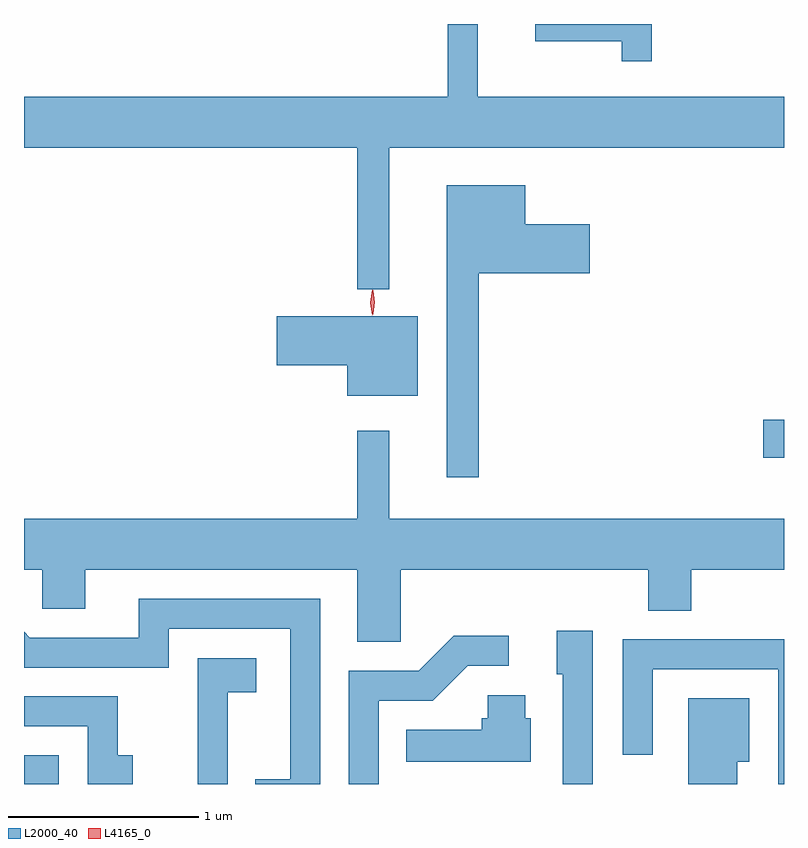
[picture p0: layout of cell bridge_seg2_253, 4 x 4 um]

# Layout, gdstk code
import gdstk
lib = gdstk.Library(unit=1e-6, precision=1e-09)
def R(c, l, rs):  # rectangles x0, y0, x1, y1
    for r in rs: c.add(gdstk.rectangle(r[:2], r[2:], *l))
def P(c, l, *ps):  # polygons
    for p in ps: c.add(gdstk.Polygon(p, *l))
L2000_40 = (2000, 40)
L4165_0 = (4165, 0)

bridge_seg2_253 = lib.new_cell('bridge_seg2_253')
R(bridge_seg2_253, L2000_40, [(481.106,1062.728,481.289,1062.879), (484.996,1064.446,485.106,1064.644)])
P(bridge_seg2_253, L2000_40, [(484.409,1066.728),(483.796,1066.728),(483.796,1066.636),(484.251,1066.636),(484.251,1066.533),(484.409,1066.533)],
  [(483.029,1066.076),(485.106,1066.076),(485.106,1066.344),(483.494,1066.344),(483.494,1066.728),(483.336,1066.728),(483.336,1066.344),(481.106,1066.344),(481.106,1066.076),(482.861,1066.076),(482.861,1065.333),(483.029,1065.333)],
  [(483.499,1065.416),(484.084,1065.416),(484.084,1065.674),(483.744,1065.674),(483.744,1065.879),(483.331,1065.879),(483.331,1064.343),(483.499,1064.343)],
  [(483.179,1065.189),(482.436,1065.189),(482.436,1064.931),(482.806,1064.931),(482.806,1064.771),(483.179,1064.771)],
  [(483.089,1063.856),(484.391,1063.856),(484.391,1063.641),(484.619,1063.641),(484.619,1063.856),(485.106,1063.856),(485.106,1064.124),(483.029,1064.124),(483.029,1064.588),(482.861,1064.588),(482.861,1064.124),(481.106,1064.124),(481.106,1063.856),(481.201,1063.856),(481.201,1063.651),(481.429,1063.651),(481.429,1063.856),(482.861,1063.856),(482.861,1063.476),(483.089,1063.476)],
  [(482.664,1063.704),(481.711,1063.704),(481.711,1063.499),(481.137,1063.499),(481.106,1063.53),(481.106,1063.341),(481.869,1063.341),(481.869,1063.546),(482.506,1063.546),(482.506,1062.754),(482.323,1062.754),(482.323,1062.728),(482.664,1062.728)],
  [(484.099,1063.534),(483.911,1063.534),(483.911,1063.306),(483.941,1063.306),(483.941,1062.728),(484.099,1062.728)],
  [(482.974,1063.166),(483.257,1063.166),(483.442,1063.351),(483.658,1063.351),(483.658,1063.509),(483.369,1063.509),(483.184,1063.324),(482.816,1063.324),(482.816,1062.728),(482.974,1062.728)],
  [(485.106,1063.489),(484.256,1063.489),(484.256,1062.883),(484.414,1062.883),(484.414,1063.331),(485.076,1063.331),(485.076,1062.728),(485.106,1062.728)],
  [(482.179,1063.211),(482.329,1063.211),(482.329,1063.389),(482.021,1063.389),(482.021,1062.728),(482.179,1062.728)],
  [(483.774,1063.074),(483.744,1063.074),(483.744,1063.194),(483.546,1063.194),(483.546,1063.074),(483.516,1063.074),(483.516,1063.014),(483.118,1063.014),(483.118,1062.846),(483.774,1062.846)],
  [(481.678,1062.879),(481.599,1062.879),(481.599,1063.189),(481.106,1063.189),(481.106,1063.031),(481.441,1063.031),(481.441,1062.728),(481.678,1062.728)],
  [(484.859,1062.846),(484.924,1062.846),(484.924,1063.179),(484.601,1063.179),(484.601,1062.728),(484.859,1062.728)])
P(bridge_seg2_253, L4165_0, [(482.939,1065.194),(482.939,1065.194),(482.929,1065.262),(482.939,1065.33),(482.939,1065.33),(482.94,1065.33),(482.949,1065.262),(482.94,1065.194)],
  [(482.942,1065.2),(482.942,1065.2),(482.932,1065.264),(482.942,1065.326),(482.942,1065.327),(482.943,1065.326),(482.952,1065.264),(482.943,1065.2)])

lib.write_gds('bridge_seg2_253.gds')
